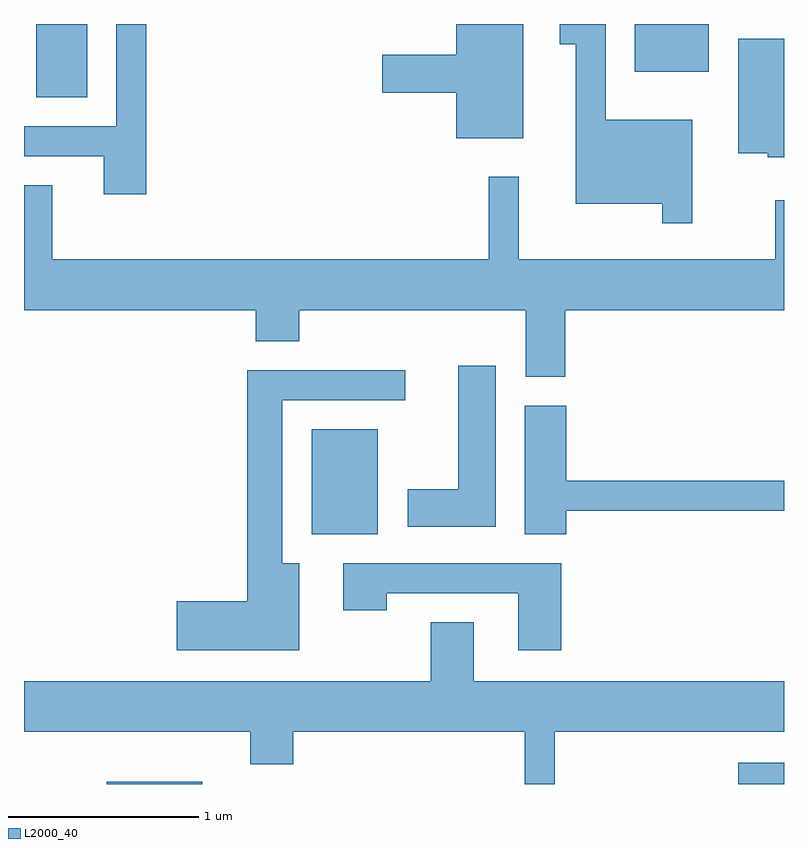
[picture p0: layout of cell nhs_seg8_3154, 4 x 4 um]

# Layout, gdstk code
import gdstk
lib = gdstk.Library(unit=1e-6, precision=1e-09)
def R(c, l, rs):  # rectangles x0, y0, x1, y1
    for r in rs: c.add(gdstk.rectangle(r[:2], r[2:], *l))
def P(c, l, *ps):  # polygons
    for p in ps: c.add(gdstk.Polygon(p, *l))
L2000_40 = (2000, 40)

nhs_seg8_3154 = lib.new_cell('nhs_seg8_3154')
R(nhs_seg8_3154, L2000_40, [(280.046,1858.342,280.548,1858.354), (283.371,1858.342,283.611,1858.454), (281.126,1859.656,281.474,1860.209), (279.676,1861.956,279.944,1862.342), (282.826,1862.091,283.214,1862.342)])
P(nhs_seg8_3154, L2000_40, [(282.239,1862.342),(281.886,1862.342),(281.886,1862.179),(281.496,1862.179),(281.496,1861.981),(281.886,1861.981),(281.886,1861.741),(282.239,1861.741)],
  [(283.129,1861.839),(282.674,1861.839),(282.674,1862.342),(282.431,1862.342),(282.431,1862.236),(282.516,1862.236),(282.516,1861.396),(282.971,1861.396),(282.971,1861.293),(283.129,1861.293)],
  [(280.254,1862.342),(280.096,1862.342),(280.096,1861.804),(279.611,1861.804),(279.611,1861.646),(280.031,1861.646),(280.031,1861.446),(280.254,1861.446)],
  [(283.611,1862.264),(283.371,1862.264),(283.371,1861.661),(283.526,1861.661),(283.526,1861.641),(283.611,1861.641)],
  [(282.459,1860.836),(283.611,1860.836),(283.611,1861.414),(283.566,1861.414),(283.566,1861.104),(282.214,1861.104),(282.214,1861.538),(282.056,1861.538),(282.056,1861.104),(279.759,1861.104),(279.759,1861.494),(279.611,1861.494),(279.611,1860.836),(280.831,1860.836),(280.831,1860.671),(281.059,1860.671),(281.059,1860.836),(282.251,1860.836),(282.251,1860.486),(282.459,1860.486)],
  [(282.094,1860.544),(281.896,1860.544),(281.896,1859.894),(281.631,1859.894),(281.631,1859.696),(282.094,1859.696)],
  [(281.059,1859.504),(280.969,1859.504),(280.969,1860.361),(281.618,1860.361),(281.618,1860.519),(280.786,1860.519),(280.786,1859.304),(280.416,1859.304),(280.416,1859.046),(281.059,1859.046)],
  [(282.464,1859.781),(283.611,1859.781),(283.611,1859.939),(282.464,1859.939),(282.464,1860.334),(282.246,1860.334),(282.246,1859.656),(282.464,1859.656)],
  [(282.439,1859.504),(281.291,1859.504),(281.291,1859.256),(281.519,1859.256),(281.519,1859.346),(282.211,1859.346),(282.211,1859.046),(282.439,1859.046)],
  [(282.404,1858.616),(283.611,1858.616),(283.611,1858.884),(281.979,1858.884),(281.979,1859.194),(281.751,1859.194),(281.751,1858.884),(279.611,1858.884),(279.611,1858.616),(280.801,1858.616),(280.801,1858.446),(281.029,1858.446),(281.029,1858.616),(282.246,1858.616),(282.246,1858.342),(282.404,1858.342)])

lib.write_gds('nhs_seg8_3154.gds')
